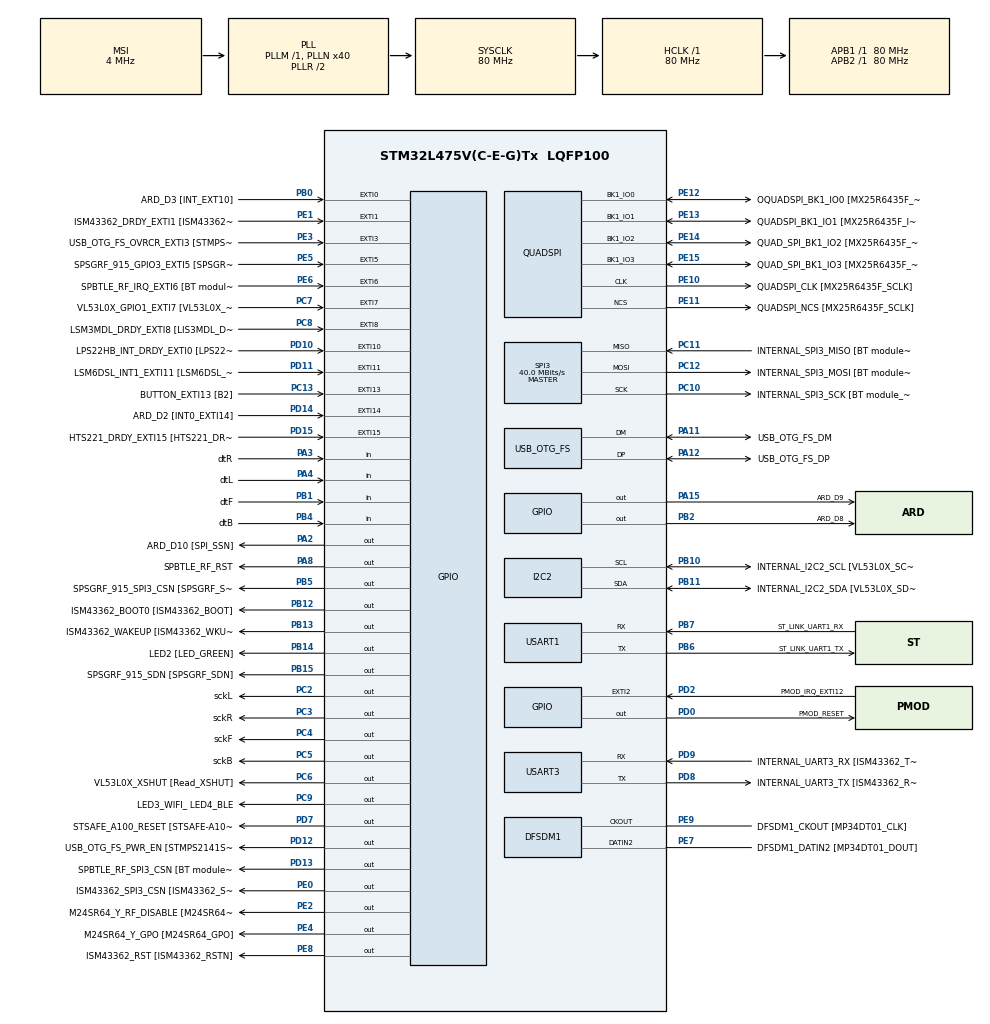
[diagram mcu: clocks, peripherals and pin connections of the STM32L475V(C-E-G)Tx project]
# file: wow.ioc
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EdgeImpulse.final.1.0.2.MachineLearningCcfinalJjCore=true
Mcu.Family=STM32L4
Mcu.Name=STM32L475V(C-E-G)Tx
Mcu.Package=LQFP100
NVIC.EXTI15_10_IRQn=true\:0\:0\:false\:false\:true\:true\:true\:true
NVIC.EXTI9_5_IRQn=true\:0\:0\:false\:false\:true\:true\:true\:true
NVIC.PriorityGroup=NVIC_PRIORITYGROUP_4
PA0.GPIO_Label=ARD_D1 [UART4_TX]
PA0.Signal=UART4_TX
PA1.GPIO_Label=ARD_D0 [UART4_RX]
PA1.Signal=UART4_RX
PA10.GPIO_Label=USB_OTG_FS_ID
PA10.Signal=USB_OTG_FS_ID
PA11.GPIO_Label=USB_OTG_FS_DM
PA11.Mode=Device_Only
PA11.Signal=USB_OTG_FS_DM
PA12.GPIO_Label=USB_OTG_FS_DP
PA12.Mode=Device_Only
PA12.Signal=USB_OTG_FS_DP
PA13\ (JTMS-SWDIO).GPIO_Label=SYS_JTMS_SWDIO
PA13\ (JTMS-SWDIO).Mode=Serial_Wire
PA13\ (JTMS-SWDIO).Signal=SYS_JTMS-SWDIO
PA14\ (JTCK-SWCLK).GPIO_Label=SYS_JTCK_SWCLK
PA14\ (JTCK-SWCLK).Mode=Serial_Wire
PA14\ (JTCK-SWCLK).Signal=SYS_JTCK-SWCLK
PA15\ (JTDI).GPIO_Label=ARD_D9
PA15\ (JTDI).Signal=GPIO_Output
PA2.GPIO_Label=ARD_D10 [SPI_SSN]
PA2.Signal=GPIO_Output
PA3.GPIO_Label=dtR
PA3.Signal=GPIO_Input
PA4.GPIO_Label=dtL
PA4.Signal=GPIO_Input
PA5.GPIO_Label=ARD_D13 [SPI1_SCK]
PA5.Signal=SPI1_SCK
PA6.GPIO_Label=ARD_D12 [SPI1_MISO]
PA6.Signal=SPI1_MISO
PA7.GPIO_Label=ARD_D11 [SPI1_MOSI]
PA7.Signal=SPI1_MOSI
PA8.GPIO_Label=SPBTLE_RF_RST
PA8.Signal=GPIO_Output
PA9.GPIO_Label=USB_OTG_FS_VBUS [STMPS2141STR_OUT]
PA9.Signal=USB_OTG_FS_VBUS
PB0.GPIO_Label=ARD_D3 [INT_EXT10]
PB0.Signal=GPXTI0
PB1.GPIO_Label=dtF
PB1.Signal=GPIO_Input
PB10.GPIO_Label=INTERNAL_I2C2_SCL [VL53L0X_SCL]
PB10.GPIO_Pu=GPIO_PULLUP
PB10.Mode=I2C
PB10.Signal=I2C2_SCL
PB11.GPIO_Label=INTERNAL_I2C2_SDA [VL53L0X_SDA]
PB11.GPIO_Pu=GPIO_PULLUP
PB11.Mode=I2C
PB11.Signal=I2C2_SDA
PB12.GPIO_Label=ISM43362_BOOT0 [ISM43362_BOOT]
PB12.Signal=GPIO_Output
PB13.GPIO_Label=ISM43362_WAKEUP [ISM43362_WKUP]
PB13.Signal=GPIO_Output
PB14.GPIO_Label=LED2 [LED_GREEN]
PB14.Signal=GPIO_Output
PB15.GPIO_Label=SPSGRF_915_SDN [SPSGRF_SDN]
PB15.Signal=GPIO_Output
PB2.GPIO_Label=ARD_D8
PB2.Signal=GPIO_Output
PB3\ (JTDO-TRACESWO).GPIO_Label=SYS_JTD0_SWO
PB3\ (JTDO-TRACESWO).Signal=SYS_JTDO-SWO
PB4\ (NJTRST).GPIO_Label=dtB
PB4\ (NJTRST).Signal=GPIO_Input
PB5.GPIO_Label=SPSGRF_915_SPI3_CSN [SPSGRF_SPI_CS]
PB5.PinState=GPIO_PIN_SET
PB5.Signal=GPIO_Output
PB6.GPIO_Label=ST_LINK_UART1_TX
PB6.Mode=Asynchronous
PB6.Signal=USART1_TX
PB7.GPIO_Label=ST_LINK_UART1_RX
PB7.Mode=Asynchronous
PB7.Signal=USART1_RX
PB8.GPIO_Label=ARD_D15 [I2C1_SCL]
PB8.Signal=I2C1_SCL
PB9.GPIO_Label=ARD_D14 [I2C1_SDA]
PB9.Signal=I2C1_SDA
PC0.GPIO_Label=ARD_A5 [ADC]
PC0.Signal=ADCx_IN1
PC1.GPIO_Label=ARD_A4 [ADC]
PC1.Signal=ADCx_IN2
PC10.GPIO_Label=INTERNAL_SPI3_SCK [BT module_SPI_SCLK] [ISM43362_SCK]
PC10.Mode=Full_Duplex_Master
PC10.Signal=SPI3_SCK
PC11.GPIO_Label=INTERNAL_SPI3_MISO [BT module_SPI_MISO] [ISM43362_MISO]
PC11.Mode=Full_Duplex_Master
PC11.Signal=SPI3_MISO
PC12.GPIO_Label=INTERNAL_SPI3_MOSI [BT module_SPI_MOSI] [ISM43362_MOSI]
PC12.Mode=Full_Duplex_Master
PC12.Signal=SPI3_MOSI
PC13.GPIO_Label=BUTTON_EXTI13 [B2]
PC13.GPIO_ModeDefaultEXTI=GPIO_MODE_IT_FALLING
PC13.Signal=GPXTI13
PC14-OSC32_IN\ (PC14).Mode=LSE-External-Oscillator
PC14-OSC32_IN\ (PC14).Signal=RCC_OSC32_IN
PC15-OSC32_OUT\ (PC15).Mode=LSE-External-Oscillator
PC15-OSC32_OUT\ (PC15).Signal=RCC_OSC32_OUT
PC2.GPIO_Label=sckL
PC2.Signal=GPIO_Output
PC3.GPIO_Label=sckR
PC3.Signal=GPIO_Output
PC4.GPIO_Label=sckF
PC4.Signal=GPIO_Output
PC5.GPIO_Label=sckB
PC5.Signal=GPIO_Output
PC6.GPIO_Label=VL53L0X_XSHUT [Read_XSHUT]
PC6.Signal=GPIO_Output
PC7.GPIO_Label=VL53L0X_GPIO1_EXTI7 [VL53L0X_GPIO1]
PC7.Signal=GPXTI7
PC8.GPIO_Label=LSM3MDL_DRDY_EXTI8 [LIS3MDL_DRDY]
PC8.Signal=GPXTI8
PC9.GPIO_Label=LED3_WIFI_ LED4_BLE
PC9.Signal=GPIO_Output
PD0.GPIO_Label=PMOD_RESET
PD0.Signal=GPIO_Output
PD1.GPIO_Label=PMOD_SPI2_SCK
PD1.Signal=SPI2_SCK
PD10.GPIO_Label=LPS22HB_INT_DRDY_EXTI0 [LPS22HB_INT_DRDY] 
PD10.Signal=GPXTI10
PD11.GPIO_Label=LSM6DSL_INT1_EXTI11 [LSM6DSL_INT1]
PD11.Signal=GPXTI11
PD12.GPIO_Label=USB_OTG_FS_PWR_EN [STMPS2141STR_EN]
PD12.Signal=GPIO_Output
PD13.GPIO_Label=SPBTLE_RF_SPI3_CSN [BT module_SPI_CS]
PD13.PinState=GPIO_PIN_SET
PD13.Signal=GPIO_Output
PD14.GPIO_Label=ARD_D2 [INT0_EXTI14]
PD14.Signal=GPXTI14
PD15.GPIO_Label=HTS221_DRDY_EXTI15 [HTS221_DRDY]
PD15.Signal=GPXTI15
PD2.GPIO_Label=PMOD_IRQ_EXTI12
PD2.Signal=GPXTI2
PD3.GPIO_Label=PMOD_UART2_CTS
PD3.Signal=USART2_CTS
PD4.GPIO_Label=PMOD_UART2_RTS
PD4.Signal=USART2_RTS
PD5.GPIO_Label=PMOD_UART2_TX
PD5.Signal=USART2_TX
PD6.GPIO_Label=PMOD_UART2_RX
PD6.Signal=USART2_RX
PD7.GPIO_Label=STSAFE_A100_RESET [STSAFE-A100_RESET]
PD7.Signal=GPIO_Output
PD8.GPIO_Label=INTERNAL_UART3_TX [ISM43362_RX]
PD8.Mode=Asynchronous
PD8.Signal=USART3_TX
PD9.GPIO_Label=INTERNAL_UART3_RX [ISM43362_TX]
PD9.Mode=Asynchronous
PD9.Signal=USART3_RX
PE0.GPIO_Label=ISM43362_SPI3_CSN [ISM43362_SSN]
PE0.PinState=GPIO_PIN_SET
PE0.Signal=GPIO_Output
PE1.GPIO_Label=ISM43362_DRDY_EXTI1 [ISM43362_DATARDY]
PE1.Signal=GPXTI1
PE10.GPIO_Label=QUADSPI_CLK [MX25R6435F_SCLK]
PE10.Mode=Single Bank
PE10.Signal=QUADSPI_CLK
PE11.GPIO_Label=QUADSPI_NCS [MX25R6435F_SCLK]
PE11.Mode=Single Bank
PE11.Signal=QUADSPI_NCS
PE12.GPIO_Label=OQUADSPI_BK1_IO0 [MX25R6435F_IO0]
PE12.Mode=Single Bank
PE12.Signal=QUADSPI_BK1_IO0
PE13.GPIO_Label=QUADSPI_BK1_IO1 [MX25R6435F_IO1]
PE13.Mode=Single Bank
PE13.Signal=QUADSPI_BK1_IO1
PE14.GPIO_Label=QUAD_SPI_BK1_IO2 [MX25R6435F_IO2]
PE14.Mode=Single Bank
PE14.Signal=QUADSPI_BK1_IO2
PE15.GPIO_Label=QUAD_SPI_BK1_IO3 [MX25R6435F_IO3]
PE15.Mode=Single Bank
PE15.Signal=QUADSPI_BK1_IO3
PE2.GPIO_Label=M24SR64_Y_RF_DISABLE [M24SR64_RFDIS]
PE2.Signal=GPIO_Output
PE3.GPIO_Label=USB_OTG_FS_OVRCR_EXTI3 [STMPS2141STR_FAULT]
PE3.Signal=GPXTI3
PE4.GPIO_Label=M24SR64_Y_GPO [M24SR64_GPO]
PE4.Signal=GPIO_Output
PE5.GPIO_Label=SPSGRF_915_GPIO3_EXTI5 [SPSGRF_GPIO_3]
PE5.Signal=GPXTI5
PE6.GPIO_Label=SPBTLE_RF_IRQ_EXTI6 [BT module_SPI_IRQ]
PE6.Signal=GPXTI6
PE7.GPIO_Label=DFSDM1_DATIN2 [MP34DT01_DOUT]
PE7.Signal=S_DATAIN2DFSDM1
PE8.GPIO_Label=ISM43362_RST [ISM43362_RSTN]
PE8.Signal=GPIO_Output
PE9.GPIO_Label=DFSDM1_CKOUT [MP34DT01_CLK]
PE9.Signal=S_CKOUTDFSDM1
ProjectManager.HeapSize=0x200
ProjectManager.StackSize=0x400
ProjectManager.TargetToolchain=STM32CubeIDE
QUADSPI.ClockPrescaler=2
QUADSPI.FifoThreshold=4
QUADSPI.FlashSize=23
QUADSPI.SampleShifting=QSPI_SAMPLE_SHIFTING_HALFCYCLE
RCC.ADCFreq_Value=48000000
RCC.AHBFreq_Value=80000000
RCC.APB1Freq_Value=80000000
RCC.APB1TimFreq_Value=80000000
RCC.APB2Freq_Value=80000000
RCC.APB2TimFreq_Value=80000000
RCC.CortexFreq_Value=80000000
RCC.HCLKFreq_Value=80000000
RCC.HSE_VALUE=8000000
RCC.HSI_VALUE=16000000
RCC.MSI_VALUE=4000000
RCC.PLLN=40
RCC.PLLSAI1N=24
RCC.SYSCLKFreq_VALUE=80000000
RCC.SYSCLKSource=RCC_SYSCLKSOURCE_PLLCLK
RCC.USBFreq_Value=48000000
RCC.VCOOutputFreq_Value=160000000
SH.ADCx_IN1.0=ADC1_IN1
SH.ADCx_IN2.0=ADC1_IN2
SH.S_CKOUTDFSDM1.0=DFSDM1_CKOUT,CKOUT
SH.S_CKOUTDFSDM1.1=DFSDM1_CKOUT,PDM_SPI_Input_from_ch12_and_Internal_Clock
SH.S_DATAIN2DFSDM1.0=DFSDM1_DATIN2,PDM_SPI_Input_from_ch12_and_Internal_Clock
SPI3.CalculateBaudRate=40.0 MBits/s
SPI3.Direction=SPI_DIRECTION_2LINES
SPI3.Mode=SPI_MODE_MASTER
SPI3.VirtualType=VM_MASTER
USART1.VirtualMode-Asynchronous=VM_ASYNC
USART3.VirtualMode-Asynchronous=VM_ASYNC
USB_OTG_FS.VirtualMode=Device_Only
VP_EdgeImpulse.final_VS_finalJjMachineLearning_1.0.2_1.0.2.Mode=finalJjMachineLearning
board=B-L475E-IOT01A1

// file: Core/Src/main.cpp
/* USER CODE BEGIN Header */
/**
  ******************************************************************************
  * @file           : main.cpp
  * @brief          : Main program body
  ******************************************************************************
  * @attention
  *
  * Copyright (c) 2024 STMicroelectronics.
  * All rights reserved.
  *
  * This software is licensed under terms that can be found in the LICENSE file
  * in the root directory of this software component.
  * If no LICENSE file comes with this software, it is provided AS-IS.
  *
  ******************************************************************************
  */
/* USER CODE END Header */
#include "main.h"

/* USER CODE BEGIN Includes */
#include "edge-impulse-sdk/classifier/ei_run_classifier.h"
using namespace ei;
#include "HX711_ADC.h"
#include "string.h"
#include "stdio.h"
/* USER CODE END Includes */

DFSDM_Channel_HandleTypeDef hdfsdm1_channel1;

I2C_HandleTypeDef hi2c2;

QSPI_HandleTypeDef hqspi;

SPI_HandleTypeDef hspi3;

UART_HandleTypeDef huart1;
UART_HandleTypeDef huart3;

PCD_HandleTypeDef hpcd_USB_OTG_FS;

/* USER CODE BEGIN PV */
float features[4];
int get_feature_data(size_t offset, size_t length, float *out_ptr){
    memcpy(out_ptr, features + offset, length * sizeof(float));
    return 0;
}
HX711_ADC LoadCellL(dtL_GPIO_Port,dtL_Pin,sckL_GPIO_Port,sckL_Pin);
HX711_ADC LoadCellF(dtF_GPIO_Port,dtF_Pin,sckF_GPIO_Port,sckF_Pin);
HX711_ADC LoadCellR(dtR_GPIO_Port,dtR_Pin,sckR_GPIO_Port,sckR_Pin);
HX711_ADC LoadCellB(dtB_GPIO_Port,dtB_Pin,sckB_GPIO_Port,sckB_Pin);
const int calVal_eepromAdress = 0;
unsigned long t = 0;
float calibrationValueL;
float calibrationValueF;
float calibrationValueR;
float calibrationValueB;
//signal_t signal;
/* USER CODE END PV */

void SystemClock_Config(void);
static void MX_GPIO_Init(void);
static void MX_DFSDM1_Init(void);
static void MX_I2C2_Init(void);
static void MX_QUADSPI_Init(void);
static void MX_SPI3_Init(void);
static void MX_USART1_UART_Init(void);
static void MX_USART3_UART_Init(void);
static void MX_USB_OTG_FS_PCD_Init(void);

int main(void)
{

  /* MCU Configuration--------------------------------------------------------*/

  /* Reset of all peripherals, Initializes the Flash interface and the Systick. */
  HAL_Init();

  /* USER CODE BEGIN Init */
  signal_t signal;
  signal.total_length=sizeof(features)/sizeof(features[0]);
  signal.get_data = &get_feature_data;

  /* USER CODE END Init */

  /* Configure the system clock */
  SystemClock_Config();

  /* Initialize all configured peripherals */
  MX_GPIO_Init();
  MX_DFSDM1_Init();
  MX_I2C2_Init();
  MX_QUADSPI_Init();
  MX_SPI3_Init();
  MX_USART1_UART_Init();
  MX_USART3_UART_Init();
  MX_USB_OTG_FS_PCD_Init();
  /* USER CODE BEGIN 2 */
  LoadCellL.begin();
    LoadCellF.begin();
    LoadCellR.begin();
    LoadCellB.begin();

    calibrationValueL = 43.06;
    calibrationValueF = -46.38;
    calibrationValueR = -45.18;
    calibrationValueB = -53.89;
    unsigned long stabilizingtime = 2000;
    bool _tare = true;
    LoadCellL.start(stabilizingtime, _tare);
    LoadCellF.start(stabilizingtime, _tare);
    LoadCellR.start(stabilizingtime, _tare);
    LoadCellB.start(stabilizingtime, _tare);
    if (LoadCellL.getTareTimeoutFlag()) {
  	  HAL_UART_Transmit(&huart1, (uint8_t*)"Timeout, check Left MCU>HX711  wiring and pin designations\n", 52, HAL_MAX_DELAY);
        while (1);
      }
    else {
        LoadCellL.setCalFactor(calibrationValueL);
        HAL_UART_Transmit(&huart1, (uint8_t*)"Startup Of left sensors is complete\n", 30, HAL_MAX_DELAY);
      }
    if (LoadCellR.getTareTimeoutFlag()) {
    	  HAL_UART_Transmit(&huart1, (uint8_t*)"Timeout, check Right MCU>HX711 wiring and pin designations\n", 52, HAL_MAX_DELAY);
          while (1);
        }
      else {
          LoadCellR.setCalFactor(calibrationValueR);
          HAL_UART_Transmit(&huart1, (uint8_t*)"Startup Of right is complete\n", 30, HAL_MAX_DELAY);
        }
    if (LoadCellF.getTareTimeoutFlag()) {
    	  HAL_UART_Transmit(&huart1, (uint8_t*)"Timeout, check Front MCU>HX711 wiring and pin designations\n", 52, HAL_MAX_DELAY);
          while (1);
        }
      else {
          LoadCellF.setCalFactor(calibrationValueF);
          HAL_UART_Transmit(&huart1, (uint8_t*)"Startup of front sensors is complete\n", 30, HAL_MAX_DELAY);
        }
    if (LoadCellB.getTareTimeoutFlag()) {
    	  HAL_UART_Transmit(&huart1, (uint8_t*)"Timeout, check Back MCU>HX711 wiring and pin designations\n", 52, HAL_MAX_DELAY);
          while (1);
        }
      else {
          LoadCellB.setCalFactor(calibrationValueB);
          HAL_UART_Transmit(&huart1, (uint8_t*)"Startup of back sensors is complete\n", 30, HAL_MAX_DELAY);
        }
  /* USER CODE END 2 */

  /* Infinite loop */
  while (1)
  {

    /* USER CODE BEGIN 3 */
	  static bool newDataReady = 0;

	  	  	    if (LoadCellL.update()&& LoadCellR.update()&& LoadCellF.update()&&LoadCellB.update()) newDataReady = true;
	  	  	    if (newDataReady) {
	  	  	        if (HAL_GetTick() > t + serialPrintInterval) {
	  	  	          features[0]= LoadCellL.getData();features[1]=LoadCellR.getData();features[2]=LoadCellF.getData();features[3]=LoadCellB.getData();

	  	  	        signal.get_data = &get_feature_data;

	  	  	          newDataReady = 0;
	  	  	          t = HAL_GetTick();
	  	  	        }
	  	  	      }

	  	  	   //tareLoadCell();
	  	  	   HAL_Delay(2000);

	  	  		  ei_impulse_result_t result = {0};
	  	  		EI_IMPULSE_ERROR res = run_classifier(&signal, &result, true);

	  	  		  ei_printf("run_classifier returned:%d\n",res);
	  	  		  ei_printf("Predictions (DSP: %d ms., Classification: %d ms., Anomaly: %d ms.): \n",
	  	  		            result.timing.dsp, result.timing.classification, result.timing.anomaly);

	  	  ei_printf("[");
	  	   for (size_t ix = 0; ix < EI_CLASSIFIER_LABEL_COUNT; ix++) {
	  	    ei_printf_float(result.classification[ix].value);
	  	    #if EI_CLASSIFIER_HAS_ANOMALY == 1
	  	            ei_printf(", ");
	  	    #else
	  	            if (ix != EI_CLASSIFIER_LABEL_COUNT - 1) {
	  	                ei_printf(", ");
	  	            }
	  	    #endif
	  	        }
	  	    #if EI_CLASSIFIER_HAS_ANOMALY == 1
	  	        ei_printf_float(result.anomaly);
	  	    #endif

	  	        ei_printf("]\n\n\n");
	  	        HAL_Delay(5000);
  }
  /* USER CODE END 3 */
}

void SystemClock_Config(void)
{
  RCC_OscInitTypeDef RCC_OscInitStruct = {0};
  RCC_ClkInitTypeDef RCC_ClkInitStruct = {0};

  /** Configure the main internal regulator output voltage
  */
  if (HAL_PWREx_ControlVoltageScaling(PWR_REGULATOR_VOLTAGE_SCALE1) != HAL_OK)
  {
    Error_Handler();
  }

  /** Configure LSE Drive Capability
  */
  HAL_PWR_EnableBkUpAccess();
  __HAL_RCC_LSEDRIVE_CONFIG(RCC_LSEDRIVE_LOW);

  /** Initializes the RCC Oscillators according to the specified parameters
  * in the RCC_OscInitTypeDef structure.
  */
  RCC_OscInitStruct.OscillatorType = RCC_OSCILLATORTYPE_LSE|RCC_OSCILLATORTYPE_MSI;
  RCC_OscInitStruct.LSEState = RCC_LSE_ON;
  RCC_OscInitStruct.MSIState = RCC_MSI_ON;
  RCC_OscInitStruct.MSICalibrationValue = 0;
  RCC_OscInitStruct.MSIClockRange = RCC_MSIRANGE_6;
  RCC_OscInitStruct.PLL.PLLState = RCC_PLL_ON;
  RCC_OscInitStruct.PLL.PLLSource = RCC_PLLSOURCE_MSI;
  RCC_OscInitStruct.PLL.PLLM = 1;
  RCC_OscInitStruct.PLL.PLLN = 40;
  RCC_OscInitStruct.PLL.PLLP = RCC_PLLP_DIV7;
  RCC_OscInitStruct.PLL.PLLQ = RCC_PLLQ_DIV2;
  RCC_OscInitStruct.PLL.PLLR = RCC_PLLR_DIV2;
  if (HAL_RCC_OscConfig(&RCC_OscInitStruct) != HAL_OK)
  {
    Error_Handler();
  }

  /** Initializes the CPU, AHB and APB buses clocks
  */
  RCC_ClkInitStruct.ClockType = RCC_CLOCKTYPE_HCLK|RCC_CLOCKTYPE_SYSCLK
                              |RCC_CLOCKTYPE_PCLK1|RCC_CLOCKTYPE_PCLK2;
  RCC_ClkInitStruct.SYSCLKSource = RCC_SYSCLKSOURCE_PLLCLK;
  RCC_ClkInitStruct.AHBCLKDivider = RCC_SYSCLK_DIV1;
  RCC_ClkInitStruct.APB1CLKDivider = RCC_HCLK_DIV1;
  RCC_ClkInitStruct.APB2CLKDivider = RCC_HCLK_DIV1;

  if (HAL_RCC_ClockConfig(&RCC_ClkInitStruct, FLASH_LATENCY_4) != HAL_OK)
  {
    Error_Handler();
  }

  /** Enable MSI Auto calibration
  */
  HAL_RCCEx_EnableMSIPLLMode();
}

static void MX_DFSDM1_Init(void)
{

  hdfsdm1_channel1.Instance = DFSDM1_Channel1;
  hdfsdm1_channel1.Init.OutputClock.Activation = ENABLE;
  hdfsdm1_channel1.Init.OutputClock.Selection = DFSDM_CHANNEL_OUTPUT_CLOCK_SYSTEM;
  hdfsdm1_channel1.Init.OutputClock.Divider = 2;
  hdfsdm1_channel1.Init.Input.Multiplexer = DFSDM_CHANNEL_EXTERNAL_INPUTS;
  hdfsdm1_channel1.Init.Input.DataPacking = DFSDM_CHANNEL_STANDARD_MODE;
  hdfsdm1_channel1.Init.Input.Pins = DFSDM_CHANNEL_FOLLOWING_CHANNEL_PINS;
  hdfsdm1_channel1.Init.SerialInterface.Type = DFSDM_CHANNEL_SPI_RISING;
  hdfsdm1_channel1.Init.SerialInterface.SpiClock = DFSDM_CHANNEL_SPI_CLOCK_INTERNAL;
  hdfsdm1_channel1.Init.Awd.FilterOrder = DFSDM_CHANNEL_FASTSINC_ORDER;
  hdfsdm1_channel1.Init.Awd.Oversampling = 1;
  hdfsdm1_channel1.Init.Offset = 0;
  hdfsdm1_channel1.Init.RightBitShift = 0x00;
  if (HAL_DFSDM_ChannelInit(&hdfsdm1_channel1) != HAL_OK)
  {
    Error_Handler();
  }

}

static void MX_I2C2_Init(void)
{

  hi2c2.Instance = I2C2;
  hi2c2.Init.Timing = 0x00000E14;
  hi2c2.Init.OwnAddress1 = 0;
  hi2c2.Init.AddressingMode = I2C_ADDRESSINGMODE_7BIT;
  hi2c2.Init.DualAddressMode = I2C_DUALADDRESS_DISABLE;
  hi2c2.Init.OwnAddress2 = 0;
  hi2c2.Init.OwnAddress2Masks = I2C_OA2_NOMASK;
  hi2c2.Init.GeneralCallMode = I2C_GENERALCALL_DISABLE;
  hi2c2.Init.NoStretchMode = I2C_NOSTRETCH_DISABLE;
  if (HAL_I2C_Init(&hi2c2) != HAL_OK)
  {
    Error_Handler();
  }

  /** Configure Analogue filter
  */
  if (HAL_I2CEx_ConfigAnalogFilter(&hi2c2, I2C_ANALOGFILTER_ENABLE) != HAL_OK)
  {
    Error_Handler();
  }

  /** Configure Digital filter
  */
  if (HAL_I2CEx_ConfigDigitalFilter(&hi2c2, 0) != HAL_OK)
  {
    Error_Handler();
  }

}

static void MX_QUADSPI_Init(void)
{

  /* QUADSPI parameter configuration*/
  hqspi.Instance = QUADSPI;
  hqspi.Init.ClockPrescaler = 2;
  hqspi.Init.FifoThreshold = 4;
  hqspi.Init.SampleShifting = QSPI_SAMPLE_SHIFTING_HALFCYCLE;
  hqspi.Init.FlashSize = 23;
  hqspi.Init.ChipSelectHighTime = QSPI_CS_HIGH_TIME_1_CYCLE;
  hqspi.Init.ClockMode = QSPI_CLOCK_MODE_0;
  if (HAL_QSPI_Init(&hqspi) != HAL_OK)
  {
    Error_Handler();
  }

}

static void MX_SPI3_Init(void)
{

  /* SPI3 parameter configuration*/
  hspi3.Instance = SPI3;
  hspi3.Init.Mode = SPI_MODE_MASTER;
  hspi3.Init.Direction = SPI_DIRECTION_2LINES;
  hspi3.Init.DataSize = SPI_DATASIZE_4BIT;
  hspi3.Init.CLKPolarity = SPI_POLARITY_LOW;
  hspi3.Init.CLKPhase = SPI_PHASE_1EDGE;
  hspi3.Init.NSS = SPI_NSS_SOFT;
  hspi3.Init.BaudRatePrescaler = SPI_BAUDRATEPRESCALER_2;
  hspi3.Init.FirstBit = SPI_FIRSTBIT_MSB;
  hspi3.Init.TIMode = SPI_TIMODE_DISABLE;
  hspi3.Init.CRCCalculation = SPI_CRCCALCULATION_DISABLE;
  hspi3.Init.CRCPolynomial = 7;
  hspi3.Init.CRCLength = SPI_CRC_LENGTH_DATASIZE;
  hspi3.Init.NSSPMode = SPI_NSS_PULSE_ENABLE;
  if (HAL_SPI_Init(&hspi3) != HAL_OK)
  {
    Error_Handler();
  }

}

static void MX_USART1_UART_Init(void)
{

  huart1.Instance = USART1;
  huart1.Init.BaudRate = 115200;
  huart1.Init.WordLength = UART_WORDLENGTH_8B;
  huart1.Init.StopBits = UART_STOPBITS_1;
  huart1.Init.Parity = UART_PARITY_NONE;
  huart1.Init.Mode = UART_MODE_TX_RX;
  huart1.Init.HwFlowCtl = UART_HWCONTROL_NONE;
  huart1.Init.OverSampling = UART_OVERSAMPLING_16;
  huart1.Init.OneBitSampling = UART_ONE_BIT_SAMPLE_DISABLE;
  huart1.AdvancedInit.AdvFeatureInit = UART_ADVFEATURE_NO_INIT;
  if (HAL_UART_Init(&huart1) != HAL_OK)
  {
    Error_Handler();
  }

}

static void MX_USART3_UART_Init(void)
{

  huart3.Instance = USART3;
  huart3.Init.BaudRate = 115200;
  huart3.Init.WordLength = UART_WORDLENGTH_8B;
  huart3.Init.StopBits = UART_STOPBITS_1;
  huart3.Init.Parity = UART_PARITY_NONE;
  huart3.Init.Mode = UART_MODE_TX_RX;
  huart3.Init.HwFlowCtl = UART_HWCONTROL_NONE;
  huart3.Init.OverSampling = UART_OVERSAMPLING_16;
  huart3.Init.OneBitSampling = UART_ONE_BIT_SAMPLE_DISABLE;
  huart3.AdvancedInit.AdvFeatureInit = UART_ADVFEATURE_NO_INIT;
  if (HAL_UART_Init(&huart3) != HAL_OK)
  {
    Error_Handler();
  }

}

static void MX_USB_OTG_FS_PCD_Init(void)
{

  hpcd_USB_OTG_FS.Instance = USB_OTG_FS;
  hpcd_USB_OTG_FS.Init.dev_endpoints = 6;
  hpcd_USB_OTG_FS.Init.speed = PCD_SPEED_FULL;
  hpcd_USB_OTG_FS.Init.phy_itface = PCD_PHY_EMBEDDED;
  hpcd_USB_OTG_FS.Init.Sof_enable = DISABLE;
  hpcd_USB_OTG_FS.Init.low_power_enable = DISABLE;
  hpcd_USB_OTG_FS.Init.lpm_enable = DISABLE;
  hpcd_USB_OTG_FS.Init.battery_charging_enable = DISABLE;
  hpcd_USB_OTG_FS.Init.use_dedicated_ep1 = DISABLE;
  hpcd_USB_OTG_FS.Init.vbus_sensing_enable = DISABLE;
  if (HAL_PCD_Init(&hpcd_USB_OTG_FS) != HAL_OK)
  {
    Error_Handler();
  }

}

static void MX_GPIO_Init(void)
{
  GPIO_InitTypeDef GPIO_InitStruct = {0};

  /* GPIO Ports Clock Enable */
  __HAL_RCC_GPIOE_CLK_ENABLE();
  __HAL_RCC_GPIOC_CLK_ENABLE();
  __HAL_RCC_GPIOA_CLK_ENABLE();
  __HAL_RCC_GPIOB_CLK_ENABLE();
  __HAL_RCC_GPIOD_CLK_ENABLE();

  /*Configure GPIO pin Output Level */
  HAL_GPIO_WritePin(GPIOE, M24SR64_Y_RF_DISABLE_Pin|M24SR64_Y_GPO_Pin|ISM43362_RST_Pin, GPIO_PIN_RESET);

  /*Configure GPIO pin Output Level */
  HAL_GPIO_WritePin(GPIOC, sckL_Pin|sckR_Pin|sckF_Pin|sckB_Pin
                          |VL53L0X_XSHUT_Pin|LED3_WIFI__LED4_BLE_Pin, GPIO_PIN_RESET);

  /*Configure GPIO pin Output Level */
  HAL_GPIO_WritePin(GPIOA, ARD_D10_Pin|SPBTLE_RF_RST_Pin|ARD_D9_Pin, GPIO_PIN_RESET);

  /*Configure GPIO pin Output Level */
  HAL_GPIO_WritePin(GPIOB, ARD_D8_Pin|ISM43362_BOOT0_Pin|ISM43362_WAKEUP_Pin|LED2_Pin
                          |SPSGRF_915_SDN_Pin, GPIO_PIN_RESET);

  /*Configure GPIO pin Output Level */
  HAL_GPIO_WritePin(GPIOD, USB_OTG_FS_PWR_EN_Pin|PMOD_RESET_Pin|STSAFE_A100_RESET_Pin, GPIO_PIN_RESET);

  /*Configure GPIO pin Output Level */
  HAL_GPIO_WritePin(SPBTLE_RF_SPI3_CSN_GPIO_Port, SPBTLE_RF_SPI3_CSN_Pin, GPIO_PIN_SET);

  /*Configure GPIO pin Output Level */
  HAL_GPIO_WritePin(SPSGRF_915_SPI3_CSN_GPIO_Port, SPSGRF_915_SPI3_CSN_Pin, GPIO_PIN_SET);

  /*Configure GPIO pin Output Level */
  HAL_GPIO_WritePin(ISM43362_SPI3_CSN_GPIO_Port, ISM43362_SPI3_CSN_Pin, GPIO_PIN_SET);

  /*Configure GPIO pins : M24SR64_Y_RF_DISABLE_Pin M24SR64_Y_GPO_Pin ISM43362_RST_Pin ISM43362_SPI3_CSN_Pin */
  GPIO_InitStruct.Pin = M24SR64_Y_RF_DISABLE_Pin|M24SR64_Y_GPO_Pin|ISM43362_RST_Pin|ISM43362_SPI3_CSN_Pin;
  GPIO_InitStruct.Mode = GPIO_MODE_OUTPUT_PP;
  GPIO_InitStruct.Pull = GPIO_NOPULL;
  GPIO_InitStruct.Speed = GPIO_SPEED_FREQ_LOW;
  HAL_GPIO_Init(GPIOE, &GPIO_InitStruct);

  /*Configure GPIO pins : USB_OTG_FS_OVRCR_EXTI3_Pin SPSGRF_915_GPIO3_EXTI5_Pin SPBTLE_RF_IRQ_EXTI6_Pin ISM43362_DRDY_EXTI1_Pin */
  GPIO_InitStruct.Pin = USB_OTG_FS_OVRCR_EXTI3_Pin|SPSGRF_915_GPIO3_EXTI5_Pin|SPBTLE_RF_IRQ_EXTI6_Pin|ISM43362_DRDY_EXTI1_Pin;
  GPIO_InitStruct.Mode = GPIO_MODE_IT_RISING;
  GPIO_InitStruct.Pull = GPIO_NOPULL;
  HAL_GPIO_Init(GPIOE, &GPIO_InitStruct);

  /*Configure GPIO pin : BUTTON_EXTI13_Pin */
  GPIO_InitStruct.Pin = BUTTON_EXTI13_Pin;
  GPIO_InitStruct.Mode = GPIO_MODE_IT_FALLING;
  GPIO_InitStruct.Pull = GPIO_NOPULL;
  HAL_GPIO_Init(BUTTON_EXTI13_GPIO_Port, &GPIO_InitStruct);

  /*Configure GPIO pins : ARD_A5_Pin ARD_A4_Pin */
  GPIO_InitStruct.Pin = ARD_A5_Pin|ARD_A4_Pin;
  GPIO_InitStruct.Mode = GPIO_MODE_ANALOG_ADC_CONTROL;
  GPIO_InitStruct.Pull = GPIO_NOPULL;
  HAL_GPIO_Init(GPIOC, &GPIO_InitStruct);

  /*Configure GPIO pins : sckL_Pin sckR_Pin sckF_Pin sckB_Pin
                           VL53L0X_XSHUT_Pin LED3_WIFI__LED4_BLE_Pin */
  GPIO_InitStruct.Pin = sckL_Pin|sckR_Pin|sckF_Pin|sckB_Pin
                          |VL53L0X_XSHUT_Pin|LED3_WIFI__LED4_BLE_Pin;
  GPIO_InitStruct.Mode = GPIO_MODE_OUTPUT_PP;
  GPIO_InitStruct.Pull = GPIO_NOPULL;
  GPIO_InitStruct.Speed = GPIO_SPEED_FREQ_LOW;
  HAL_GPIO_Init(GPIOC, &GPIO_InitStruct);

  /*Configure GPIO pins : ARD_D1_Pin ARD_D0_Pin */
  GPIO_InitStruct.Pin = ARD_D1_Pin|ARD_D0_Pin;
  GPIO_InitStruct.Mode = GPIO_MODE_AF_PP;
  GPIO_InitStruct.Pull = GPIO_NOPULL;
  GPIO_InitStruct.Speed = GPIO_SPEED_FREQ_VERY_HIGH;
  GPIO_InitStruct.Alternate = GPIO_AF8_UART4;
  HAL_GPIO_Init(GPIOA, &GPIO_InitStruct);

  /*Configure GPIO pins : ARD_D10_Pin SPBTLE_RF_RST_Pin ARD_D9_Pin */
  GPIO_InitStruct.Pin = ARD_D10_Pin|SPBTLE_RF_RST_Pin|ARD_D9_Pin;
  GPIO_InitStruct.Mode = GPIO_MODE_OUTPUT_PP;
  GPIO_InitStruct.Pull = GPIO_NOPULL;
  GPIO_InitStruct.Speed = GPIO_SPEED_FREQ_LOW;
  HAL_GPIO_Init(GPIOA, &GPIO_InitStruct);

  /*Configure GPIO pins : dtR_Pin dtL_Pin */
  GPIO_InitStruct.Pin = dtR_Pin|dtL_Pin;
  GPIO_InitStruct.Mode = GPIO_MODE_INPUT;
  GPIO_InitStruct.Pull = GPIO_NOPULL;
  HAL_GPIO_Init(GPIOA, &GPIO_InitStruct);

  /*Configure GPIO pins : ARD_D13_Pin ARD_D12_Pin ARD_D11_Pin */
  GPIO_InitStruct.Pin = ARD_D13_Pin|ARD_D12_Pin|ARD_D11_Pin;
  GPIO_InitStruct.Mode = GPIO_MODE_AF_PP;
  GPIO_InitStruct.Pull = GPIO_NOPULL;
  GPIO_InitStruct.Speed = GPIO_SPEED_FREQ_VERY_HIGH;
  GPIO_InitStruct.Alternate = GPIO_AF5_SPI1;
  HAL_GPIO_Init(GPIOA, &GPIO_InitStruct);

  /*Configure GPIO pin : ARD_D3_Pin */
  GPIO_InitStruct.Pin = ARD_D3_Pin;
  GPIO_InitStruct.Mode = GPIO_MODE_IT_RISING;
  GPIO_InitStruct.Pull = GPIO_NOPULL;
  HAL_GPIO_Init(ARD_D3_GPIO_Port, &GPIO_InitStruct);

  /*Configure GPIO pins : dtF_Pin dtB_Pin */
  GPIO_InitStruct.Pin = dtF_Pin|dtB_Pin;
  GPIO_InitStruct.Mode = GPIO_MODE_INPUT;
  GPIO_InitStruct.Pull = GPIO_NOPULL;
  HAL_GPIO_Init(GPIOB, &GPIO_InitStruct);

  /*Configure GPIO pins : ARD_D8_Pin ISM43362_BOOT0_Pin ISM43362_WAKEUP_Pin LED2_Pin
                           SPSGRF_915_SDN_Pin SPSGRF_915_SPI3_CSN_Pin */
  GPIO_InitStruct.Pin = ARD_D8_Pin|ISM43362_BOOT0_Pin|ISM43362_WAKEUP_Pin|LED2_Pin
                          |SPSGRF_915_SDN_Pin|SPSGRF_915_SPI3_CSN_Pin;
  GPIO_InitStruct.Mode = GPIO_MODE_OUTPUT_PP;
  GPIO_InitStruct.Pull = GPIO_NOPULL;
  GPIO_InitStruct.Speed = GPIO_SPEED_FREQ_LOW;
  HAL_GPIO_Init(GPIOB, &GPIO_InitStruct);

  /*Configure GPIO pins : LPS22HB_INT_DRDY_EXTI0_Pin LSM6DSL_INT1_EXTI11_Pin ARD_D2_Pin HTS221_DRDY_EXTI15_Pin
                           PMOD_IRQ_EXTI12_Pin */
  GPIO_InitStruct.Pin = LPS22HB_INT_DRDY_EXTI0_Pin|LSM6DSL_INT1_EXTI11_Pin|ARD_D2_Pin|HTS221_DRDY_EXTI15_Pin
                          |PMOD_IRQ_EXTI12_Pin;
  GPIO_InitStruct.Mode = GPIO_MODE_IT_RISING;
  GPIO_InitStruct.Pull = GPIO_NOPULL;
  HAL_GPIO_Init(GPIOD, &GPIO_InitStruct);

  /*Configure GPIO pins : USB_OTG_FS_PWR_EN_Pin SPBTLE_RF_SPI3_CSN_Pin PMOD_RESET_Pin STSAFE_A100_RESET_Pin */
  GPIO_InitStruct.Pin = USB_OTG_FS_PWR_EN_Pin|SPBTLE_RF_SPI3_CSN_Pin|PMOD_RESET_Pin|STSAFE_A100_RESET_Pin;
  GPIO_InitStruct.Mode = GPIO_MODE_OUTPUT_PP;
  GPIO_InitStruct.Pull = GPIO_NOPULL;
  GPIO_InitStruct.Speed = GPIO_SPEED_FREQ_LOW;
  HAL_GPIO_Init(GPIOD, &GPIO_InitStruct);

  /*Configure GPIO pins : VL53L0X_GPIO1_EXTI7_Pin LSM3MDL_DRDY_EXTI8_Pin */
  GPIO_InitStruct.Pin = VL53L0X_GPIO1_EXTI7_Pin|LSM3MDL_DRDY_EXTI8_Pin;
  GPIO_InitStruct.Mode = GPIO_MODE_IT_RISING;
  GPIO_InitStruct.Pull = GPIO_NOPULL;
  HAL_GPIO_Init(GPIOC, &GPIO_InitStruct);

  /*Configure GPIO pin : PMOD_SPI2_SCK_Pin */
  GPIO_InitStruct.Pin = PMOD_SPI2_SCK_Pin;
  GPIO_InitStruct.Mode = GPIO_MODE_AF_PP;
  GPIO_InitStruct.Pull = GPIO_NOPULL;
  GPIO_InitStruct.Speed = GPIO_SPEED_FREQ_VERY_HIGH;
  GPIO_InitStruct.Alternate = GPIO_AF5_SPI2;
  HAL_GPIO_Init(PMOD_SPI2_SCK_GPIO_Port, &GPIO_InitStruct);

  /*Configure GPIO pins : PMOD_UART2_CTS_Pin PMOD_UART2_RTS_Pin PMOD_UART2_TX_Pin PMOD_UART2_RX_Pin */
  GPIO_InitStruct.Pin = PMOD_UART2_CTS_Pin|PMOD_UART2_RTS_Pin|PMOD_UART2_TX_Pin|PMOD_UART2_RX_Pin;
  GPIO_InitStruct.Mode = GPIO_MODE_AF_PP;
  GPIO_InitStruct.Pull = GPIO_NOPULL;
  GPIO_InitStruct.Speed = GPIO_SPEED_FREQ_VERY_HIGH;
  GPIO_InitStruct.Alternate = GPIO_AF7_USART2;
  HAL_GPIO_Init(GPIOD, &GPIO_InitStruct);

  /*Configure GPIO pins : ARD_D15_Pin ARD_D14_Pin */
  GPIO_InitStruct.Pin = ARD_D15_Pin|ARD_D14_Pin;
  GPIO_InitStruct.Mode = GPIO_MODE_AF_OD;
  GPIO_InitStruct.Pull = GPIO_NOPULL;
  GPIO_InitStruct.Speed = GPIO_SPEED_FREQ_VERY_HIGH;
  GPIO_InitStruct.Alternate = GPIO_AF4_I2C1;
  HAL_GPIO_Init(GPIOB, &GPIO_InitStruct);

  /* EXTI interrupt init*/
  HAL_NVIC_SetPriority(EXTI9_5_IRQn, 0, 0);
  HAL_NVIC_EnableIRQ(EXTI9_5_IRQn);

  HAL_NVIC_SetPriority(EXTI15_10_IRQn, 0, 0);
  HAL_NVIC_EnableIRQ(EXTI15_10_IRQn);

}

void Error_Handler(void)
{
  __disable_irq();
  while (1)
  {
  }
}
